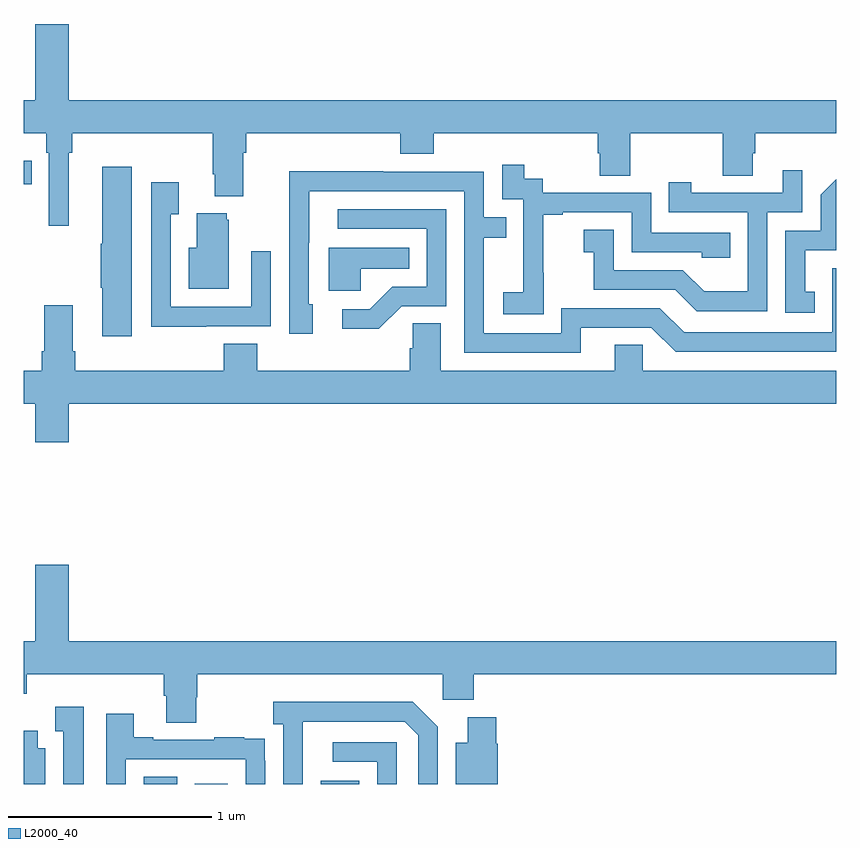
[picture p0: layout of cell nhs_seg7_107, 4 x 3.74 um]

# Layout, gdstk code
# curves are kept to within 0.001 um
import gdstk
lib = gdstk.Library(unit=1e-6, precision=1e-09)
def R(c, l, rs):  # rectangles x0, y0, x1, y1
    for r in rs: c.add(gdstk.rectangle(r[:2], r[2:], *l))
def P(c, l, *ps):  # polygons
    for p in ps: c.add(gdstk.Polygon(p, *l))
L2000_40 = (2000, 40)

nhs_seg7_107 = lib.new_cell('nhs_seg7_107')
R(nhs_seg7_107, L2000_40, [(117.59,1076,117.754,1076.036), (117.842,1076,118.003,1076.002), (118.463,1076,118.651,1076.017), (117,1078.954,117.038,1079.07)])
P(nhs_seg7_107, L2000_40, [(117.22,1079.108),(117.239,1079.108),(117.239,1079.204),(117.929,1079.204),(117.929,1079.002),(117.941,1079.002),(117.941,1078.895),(118.081,1078.895),(118.081,1079.108),(118.094,1079.108),(118.094,1079.204),(118.853,1079.204),(118.853,1079.105),(119.018,1079.105),(119.018,1079.204),(119.825,1079.204),(119.825,1079.106),(119.837,1079.106),(119.837,1078.996),(119.985,1078.996),(119.985,1079.204),(120.442,1079.204),(120.442,1078.996),(120.589,1078.996),(120.589,1079.106),(120.602,1079.106),(120.602,1079.204),(121,1079.204),(121,1079.368),(117.22,1079.368),(117.22,1079.743),(117.056,1079.743),(117.056,1079.368),(117,1079.368),(117,1079.204),(117.11,1079.204),(117.11,1079.108),(117.123,1079.108),(117.123,1078.749),(117.22,1078.749)],
  [(119.559,1078.519),(119.558,1078.519),(119.558,1078.803),(119.653,1078.803),(119.653,1078.815),(119.994,1078.815),(119.994,1078.62),(120.339,1078.62),(120.339,1078.593),(120.479,1078.593),(120.479,1078.716),(120.09,1078.716),(120.09,1078.911),(119.556,1078.911),(119.556,1078.98),(119.464,1078.98),(119.464,1079.05),(119.355,1079.05),(119.355,1078.881),(119.46,1078.881),(119.46,1078.652),(119.459,1078.652),(119.459,1078.423),(119.361,1078.423),(119.361,1078.313),(119.559,1078.313)],
  [(117.532,1079.041),(117.386,1079.041),(117.386,1078.661),(117.379,1078.661),(117.379,1078.444),(117.386,1078.444),(117.386,1078.206),(117.532,1078.206)],
  [(120.66,1078.815),(120.834,1078.815),(120.834,1079.023),(120.737,1079.023),(120.737,1078.911),(120.286,1078.911),(120.286,1078.963),(120.175,1078.963),(120.175,1078.815),(120.564,1078.815),(120.564,1078.426),(120.35,1078.426),(120.246,1078.53),(119.904,1078.53),(119.904,1078.729),(119.757,1078.729),(119.757,1078.619),(119.806,1078.619),(119.806,1078.434),(120.209,1078.434),(120.314,1078.329),(120.66,1078.329)],
  [(119.743,1078.248),(120.09,1078.248),(120.21,1078.128),(121,1078.128),(121,1078.539),(120.981,1078.539),(120.981,1078.224),(120.252,1078.224),(120.132,1078.344),(119.646,1078.344),(119.646,1078.221),(119.265,1078.221),(119.265,1078.69),(119.375,1078.69),(119.375,1078.791),(119.265,1078.791),(119.265,1079.016),(118.769,1079.016),(118.769,1079.018),(118.306,1079.018),(118.306,1078.711),(118.308,1078.711),(118.308,1078.218),(118.423,1078.218),(118.423,1078.362),(118.404,1078.362),(118.405,1078.92),(119.169,1078.92),(119.169,1078.125),(119.743,1078.125)],
  [(120.896,1078.425),(120.847,1078.425),(120.847,1078.629),(121,1078.629),(121,1078.978),(120.924,1078.902),(120.924,1078.725),(120.75,1078.725),(120.75,1078.32),(120.896,1078.32)],
  [(117.899,1078.254),(118.215,1078.254),(118.215,1078.624),(118.119,1078.624),(118.119,1078.35),(117.723,1078.35),(117.723,1078.807),(117.763,1078.807),(117.763,1078.963),(117.627,1078.963),(117.627,1078.253),(117.899,1078.253)],
  [(118.86,1078.353),(119.079,1078.353),(119.079,1078.83),(118.545,1078.83),(118.545,1078.734),(118.983,1078.734),(118.983,1078.449),(118.814,1078.449),(118.703,1078.338),(118.569,1078.338),(118.569,1078.241),(118.747,1078.241)],
  [(118.009,1078.779),(117.998,1078.779),(117.998,1078.81),(117.851,1078.81),(117.851,1078.642),(117.812,1078.642),(117.812,1078.439),(118.009,1078.439)],
  [(118.659,1078.538),(118.898,1078.538),(118.898,1078.642),(118.502,1078.642),(118.502,1078.43),(118.659,1078.43)],
  [(117.22,1077.872),(121,1077.872),(121,1078.036),(120.048,1078.036),(120.048,1078.163),(119.909,1078.163),(119.909,1078.036),(119.053,1078.036),(119.053,1078.268),(118.914,1078.268),(118.914,1078.145),(118.901,1078.145),(118.901,1078.036),(118.148,1078.036),(118.148,1078.169),(117.983,1078.169),(117.983,1078.036),(117.254,1078.036),(117.254,1078.132),(117.241,1078.132),(117.241,1078.357),(117.101,1078.357),(117.101,1078.132),(117.089,1078.132),(117.089,1078.036),(117,1078.036),(117,1077.872),(117.056,1077.872),(117.056,1077.684),(117.22,1077.684)],
  [(117.849,1076.427),(117.854,1076.427),(117.854,1076.54),(119.064,1076.54),(119.064,1076.414),(119.216,1076.414),(119.216,1076.54),(121,1076.54),(121,1076.704),(117.22,1076.704),(117.22,1077.079),(117.056,1077.079),(117.056,1076.704),(117,1076.704),(117,1076.445),(117.014,1076.445),(117.014,1076.54),(117.689,1076.54),(117.689,1076.434),(117.701,1076.434),(117.701,1076.302),(117.849,1076.302)],
  [(118.374,1076.307),(118.875,1076.307),(118.941,1076.241),(118.941,1076),(119.037,1076),(119.037,1076.283),(118.916,1076.404),(118.227,1076.404),(118.227,1076.294),(118.278,1076.294),(118.278,1076),(118.374,1076)],
  [(117.295,1076.38),(117.155,1076.38),(117.155,1076.259),(117.194,1076.259),(117.194,1076),(117.295,1076)],
  [(117.501,1076.121),(118.092,1076.121),(118.092,1076),(118.188,1076),(118.188,1076.114),(118.187,1076.114),(118.187,1076.223),(118.085,1076.223),(118.085,1076.23),(117.937,1076.23),(117.937,1076.217),(117.637,1076.217),(117.637,1076.23),(117.541,1076.23),(117.541,1076.347),(117.405,1076.347),(117.405,1076),(117.501,1076)],
  [(119.333,1076.199),(119.327,1076.199),(119.327,1076.329),(119.186,1076.329),(119.186,1076.203),(119.126,1076.203),(119.126,1076),(119.333,1076)],
  [(117.106,1076.176),(117.067,1076.176),(117.067,1076.263),(117,1076.263),(117,1076),(117.106,1076)],
  [(118.836,1076.205),(118.521,1076.205),(118.521,1076.109),(118.74,1076.109),(118.74,1076),(118.836,1076)])

lib.write_gds('nhs_seg7_107.gds')
